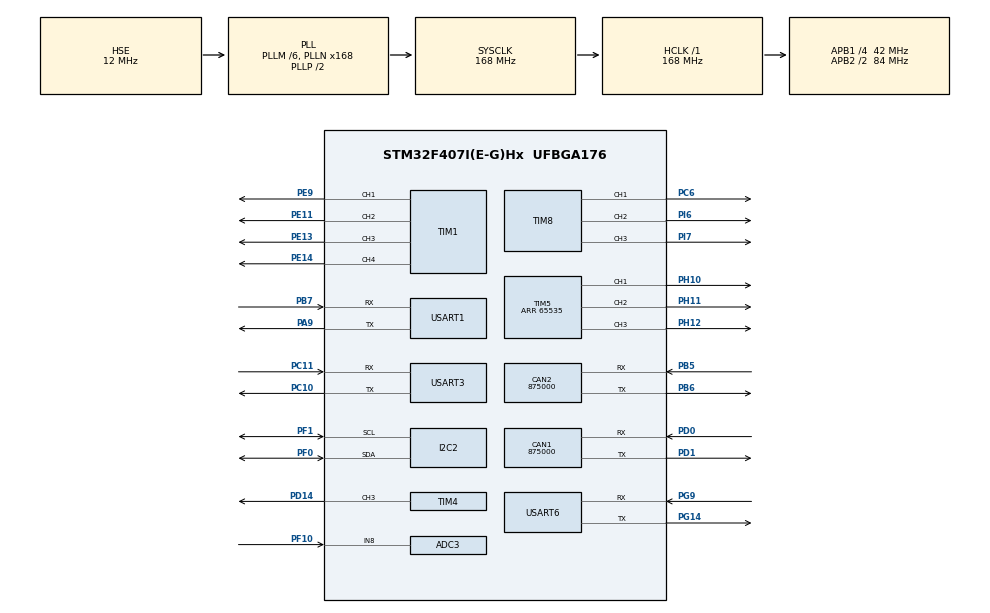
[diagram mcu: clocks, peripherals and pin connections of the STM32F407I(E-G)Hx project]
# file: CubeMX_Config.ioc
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ADC1.Channel-0\#ChannelRegularConversion=ADC_CHANNEL_TEMPSENSOR
ADC1.NbrOfConversionFlag=1
ADC1.Rank-0\#ChannelRegularConversion=1
ADC1.SamplingTime-0\#ChannelRegularConversion=ADC_SAMPLETIME_3CYCLES
ADC1.master=1
ADC3.Channel-1\#ChannelRegularConversion=ADC_CHANNEL_8
ADC3.NbrOfConversionFlag=1
ADC3.Rank-1\#ChannelRegularConversion=1
ADC3.SamplingTime-1\#ChannelRegularConversion=ADC_SAMPLETIME_3CYCLES
CAN1.BS1=CAN_BS1_1TQ
CAN1.BS2=CAN_BS2_1TQ
CAN1.CalculateBaudRate=875000
CAN1.CalculateTimeBit=1142
CAN1.CalculateTimeQuantum=380.95238095238096
CAN2.BS1=CAN_BS1_1TQ
CAN2.BS2=CAN_BS2_1TQ
CAN2.CalculateBaudRate=875000
CAN2.CalculateTimeBit=1142
CAN2.CalculateTimeQuantum=380.95238095238096
Mcu.Family=STM32F4
Mcu.Name=STM32F407I(E-G)Hx
Mcu.Package=UFBGA176
NVIC.PriorityGroup=NVIC_PRIORITYGROUP_4
PA13.Mode=Serial_Wire
PA13.Signal=SYS_JTMS-SWDIO
PA14.Mode=Serial_Wire
PA14.Signal=SYS_JTCK-SWCLK
PA9.GPIO_PuPd=GPIO_PULLUP
PA9.Mode=Asynchronous
PA9.Signal=USART1_TX
PB5.Mode=CAN_Activate
PB5.Signal=CAN2_RX
PB6.Mode=CAN_Activate
PB6.Signal=CAN2_TX
PB7.GPIO_PuPd=GPIO_PULLUP
PB7.Mode=Asynchronous
PB7.Signal=USART1_RX
PC10.Mode=Asynchronous
PC10.Signal=USART3_TX
PC11.Mode=Asynchronous
PC11.Signal=USART3_RX
PC6.Signal=S_TIM8_CH1
PD0.Mode=CAN_Activate
PD0.Signal=CAN1_RX
PD1.Mode=CAN_Activate
PD1.Signal=CAN1_TX
PD14.Signal=S_TIM4_CH3
PE11.Signal=S_TIM1_CH2
PE13.Signal=S_TIM1_CH3
PE14.Signal=S_TIM1_CH4
PE9.Signal=S_TIM1_CH1
PF0.Mode=I2C
PF0.Signal=I2C2_SDA
PF1.Mode=I2C
PF1.Signal=I2C2_SCL
PF10.Mode=IN8
PF10.Signal=ADC3_IN8
PG14.Mode=Asynchronous
PG14.Signal=USART6_TX
PG9.Mode=Asynchronous
PG9.Signal=USART6_RX
PH0-OSC_IN.Mode=HSE-External-Oscillator
PH0-OSC_IN.Signal=RCC_OSC_IN
PH1-OSC_OUT.Mode=HSE-External-Oscillator
PH1-OSC_OUT.Signal=RCC_OSC_OUT
PH10.Signal=S_TIM5_CH1
PH11.Signal=S_TIM5_CH2
PH12.Signal=S_TIM5_CH3
PI6.Signal=S_TIM8_CH2
PI7.Signal=S_TIM8_CH3
ProjectManager.HeapSize=0x200
ProjectManager.StackSize=0x400
ProjectManager.TargetToolchain=MDK-ARM V5
RCC.48MHZClocksFreq_Value=84000000
RCC.AHBFreq_Value=168000000
RCC.APB1CLKDivider=RCC_HCLK_DIV4
RCC.APB1Freq_Value=42000000
RCC.APB1TimFreq_Value=84000000
RCC.APB2CLKDivider=RCC_HCLK_DIV2
RCC.APB2Freq_Value=84000000
RCC.APB2TimFreq_Value=168000000
RCC.CortexFreq_Value=168000000
RCC.HCLKFreq_Value=168000000
RCC.HSE_VALUE=12000000
RCC.HSI_VALUE=16000000
RCC.LSE_VALUE=32768
RCC.PLLM=6
RCC.PLLN=168
RCC.PLLSourceVirtual=RCC_PLLSOURCE_HSE
RCC.SYSCLKFreq_VALUE=168000000
RCC.SYSCLKSource=RCC_SYSCLKSOURCE_PLLCLK
RCC.VCOOutputFreq_Value=336000000
SH.S_TIM1_CH1.0=TIM1_CH1,PWM Generation1 CH1
SH.S_TIM1_CH2.0=TIM1_CH2,PWM Generation2 CH2
SH.S_TIM1_CH3.0=TIM1_CH3,PWM Generation3 CH3
SH.S_TIM1_CH4.0=TIM1_CH4,PWM Generation4 CH4
SH.S_TIM4_CH3.0=TIM4_CH3,PWM Generation3 CH3
SH.S_TIM5_CH1.0=TIM5_CH1,PWM Generation1 CH1
SH.S_TIM5_CH2.0=TIM5_CH2,PWM Generation2 CH2
SH.S_TIM5_CH3.0=TIM5_CH3,PWM Generation3 CH3
SH.S_TIM8_CH1.0=TIM8_CH1,PWM Generation1 CH1
SH.S_TIM8_CH2.0=TIM8_CH2,PWM Generation2 CH2
SH.S_TIM8_CH3.0=TIM8_CH3,PWM Generation3 CH3
TIM1.Channel-PWM\ Generation1\ CH1=TIM_CHANNEL_1
TIM1.Channel-PWM\ Generation2\ CH2=TIM_CHANNEL_2
TIM1.Channel-PWM\ Generation3\ CH3=TIM_CHANNEL_3
TIM1.Channel-PWM\ Generation4\ CH4=TIM_CHANNEL_4
TIM4.Channel-PWM\ Generation3\ CH3=TIM_CHANNEL_3
TIM5.Channel-PWM\ Generation1\ CH1=TIM_CHANNEL_1
TIM5.Channel-PWM\ Generation2\ CH2=TIM_CHANNEL_2
TIM5.Channel-PWM\ Generation3\ CH3=TIM_CHANNEL_3
TIM5.Period=65535
TIM8.Channel-PWM\ Generation1\ CH1=TIM_CHANNEL_1
TIM8.Channel-PWM\ Generation2\ CH2=TIM_CHANNEL_2
TIM8.Channel-PWM\ Generation3\ CH3=TIM_CHANNEL_3
USART1.VirtualMode=VM_ASYNC
USART3.VirtualMode=VM_ASYNC
USART6.VirtualMode=VM_ASYNC
VP_ADC1_TempSens_Input.Mode=IN-TempSens
VP_ADC1_Vref_Input.Mode=IN-Vrefint
VP_TIM1_VS_ClockSourceINT.Mode=Internal
VP_TIM4_VS_ClockSourceINT.Mode=Internal
VP_TIM5_VS_ClockSourceINT.Mode=Internal
VP_TIM8_VS_ClockSourceINT.Mode=Internal
board=custom

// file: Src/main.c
/* USER CODE BEGIN Header */
/**
  ******************************************************************************
  * @file           : main.c
  * @brief          : Main program body
  ******************************************************************************
  * @attention
  *
  * Copyright (c) 2023 STMicroelectronics.
  * All rights reserved.
  *
  * This software is licensed under terms that can be found in the LICENSE file
  * in the root directory of this software component.
  * If no LICENSE file comes with this software, it is provided AS-IS.
  *
  ******************************************************************************
  */
/* USER CODE END Header */
#include "main.h"

/* USER CODE BEGIN Includes */
#include <rtthread.h>
#include <board.h>
#ifdef BSP_USING_EASYFLASH
#include <easyflash.h>
#endif
/* USER CODE END Includes */

ADC_HandleTypeDef hadc1;
ADC_HandleTypeDef hadc3;

CAN_HandleTypeDef hcan1;
CAN_HandleTypeDef hcan2;

I2C_HandleTypeDef hi2c2;

TIM_HandleTypeDef htim1;
TIM_HandleTypeDef htim4;
TIM_HandleTypeDef htim5;
TIM_HandleTypeDef htim8;

UART_HandleTypeDef huart1;
UART_HandleTypeDef huart3;
UART_HandleTypeDef huart6;

void SystemClock_Config(void);
static void MX_GPIO_Init(void);
static void MX_USART1_UART_Init(void);
static void MX_ADC3_Init(void);
static void MX_CAN1_Init(void);
static void MX_CAN2_Init(void);
static void MX_TIM1_Init(void);
static void MX_TIM4_Init(void);
static void MX_TIM8_Init(void);
static void MX_USART3_UART_Init(void);
static void MX_USART6_UART_Init(void);
static void MX_ADC1_Init(void);
static void MX_I2C2_Init(void);
static void MX_TIM5_Init(void);

int main(void)
{

    /* MCU Configuration--------------------------------------------------------*/

    /* Reset of all peripherals, Initializes the Flash interface and the Systick. */
    HAL_Init();

    /* Configure the system clock */
    SystemClock_Config();

    /* Initialize all configured peripherals */
    MX_GPIO_Init();
    MX_USART1_UART_Init();
    MX_ADC3_Init();
    MX_CAN1_Init();
    MX_CAN2_Init();
    MX_TIM1_Init();
    MX_TIM4_Init();
    MX_TIM8_Init();
    MX_USART3_UART_Init();
    MX_USART6_UART_Init();
    MX_ADC1_Init();
    MX_I2C2_Init();
    MX_TIM5_Init();
    /* USER CODE BEGIN 2 */
#ifdef BSP_USING_EASYFLASH
    easyflash_init();
#endif
    /* USER CODE END 2 */

    /* Infinite loop */
    while (1)
    {

        /* USER CODE BEGIN 3 */
        rt_thread_mdelay(500);
    }
    /* USER CODE END 3 */
}

void SystemClock_Config(void)
{
    RCC_OscInitTypeDef RCC_OscInitStruct = {0};
    RCC_ClkInitTypeDef RCC_ClkInitStruct = {0};

    /** Configure the main internal regulator output voltage
    */
    __HAL_RCC_PWR_CLK_ENABLE();
    __HAL_PWR_VOLTAGESCALING_CONFIG(PWR_REGULATOR_VOLTAGE_SCALE1);

    /** Initializes the RCC Oscillators according to the specified parameters
    * in the RCC_OscInitTypeDef structure.
    */
    RCC_OscInitStruct.OscillatorType = RCC_OSCILLATORTYPE_HSE;
    RCC_OscInitStruct.HSEState = RCC_HSE_ON;
    RCC_OscInitStruct.PLL.PLLState = RCC_PLL_ON;
    RCC_OscInitStruct.PLL.PLLSource = RCC_PLLSOURCE_HSE;
    RCC_OscInitStruct.PLL.PLLM = 6;
    RCC_OscInitStruct.PLL.PLLN = 168;
    RCC_OscInitStruct.PLL.PLLP = RCC_PLLP_DIV2;
    RCC_OscInitStruct.PLL.PLLQ = 4;
    if (HAL_RCC_OscConfig(&RCC_OscInitStruct) != HAL_OK)
    {
        Error_Handler();
    }

    /** Initializes the CPU, AHB and APB buses clocks
    */
    RCC_ClkInitStruct.ClockType = RCC_CLOCKTYPE_HCLK|RCC_CLOCKTYPE_SYSCLK
                                  |RCC_CLOCKTYPE_PCLK1|RCC_CLOCKTYPE_PCLK2;
    RCC_ClkInitStruct.SYSCLKSource = RCC_SYSCLKSOURCE_PLLCLK;
    RCC_ClkInitStruct.AHBCLKDivider = RCC_SYSCLK_DIV1;
    RCC_ClkInitStruct.APB1CLKDivider = RCC_HCLK_DIV4;
    RCC_ClkInitStruct.APB2CLKDivider = RCC_HCLK_DIV2;

    if (HAL_RCC_ClockConfig(&RCC_ClkInitStruct, FLASH_LATENCY_5) != HAL_OK)
    {
        Error_Handler();
    }
}

static void MX_ADC1_Init(void)
{

    ADC_ChannelConfTypeDef sConfig = {0};

    /** Configure the global features of the ADC (Clock, Resolution, Data Alignment and number of conversion)
    */
    hadc1.Instance = ADC1;
    hadc1.Init.ClockPrescaler = ADC_CLOCK_SYNC_PCLK_DIV4;
    hadc1.Init.Resolution = ADC_RESOLUTION_12B;
    hadc1.Init.ScanConvMode = DISABLE;
    hadc1.Init.ContinuousConvMode = DISABLE;
    hadc1.Init.DiscontinuousConvMode = DISABLE;
    hadc1.Init.ExternalTrigConvEdge = ADC_EXTERNALTRIGCONVEDGE_NONE;
    hadc1.Init.ExternalTrigConv = ADC_SOFTWARE_START;
    hadc1.Init.DataAlign = ADC_DATAALIGN_RIGHT;
    hadc1.Init.NbrOfConversion = 1;
    hadc1.Init.DMAContinuousRequests = DISABLE;
    hadc1.Init.EOCSelection = ADC_EOC_SINGLE_CONV;
    if (HAL_ADC_Init(&hadc1) != HAL_OK)
    {
        Error_Handler();
    }

    /** Configure for the selected ADC regular channel its corresponding rank in the sequencer and its sample time.
    */
    sConfig.Channel = ADC_CHANNEL_TEMPSENSOR;
    sConfig.Rank = 1;
    sConfig.SamplingTime = ADC_SAMPLETIME_3CYCLES;
    if (HAL_ADC_ConfigChannel(&hadc1, &sConfig) != HAL_OK)
    {
        Error_Handler();
    }

}

static void MX_ADC3_Init(void)
{

    ADC_ChannelConfTypeDef sConfig = {0};

    /** Configure the global features of the ADC (Clock, Resolution, Data Alignment and number of conversion)
    */
    hadc3.Instance = ADC3;
    hadc3.Init.ClockPrescaler = ADC_CLOCK_SYNC_PCLK_DIV4;
    hadc3.Init.Resolution = ADC_RESOLUTION_12B;
    hadc3.Init.ScanConvMode = DISABLE;
    hadc3.Init.ContinuousConvMode = DISABLE;
    hadc3.Init.DiscontinuousConvMode = DISABLE;
    hadc3.Init.ExternalTrigConvEdge = ADC_EXTERNALTRIGCONVEDGE_NONE;
    hadc3.Init.ExternalTrigConv = ADC_SOFTWARE_START;
    hadc3.Init.DataAlign = ADC_DATAALIGN_RIGHT;
    hadc3.Init.NbrOfConversion = 1;
    hadc3.Init.DMAContinuousRequests = DISABLE;
    hadc3.Init.EOCSelection = ADC_EOC_SINGLE_CONV;
    if (HAL_ADC_Init(&hadc3) != HAL_OK)
    {
        Error_Handler();
    }

    /** Configure for the selected ADC regular channel its corresponding rank in the sequencer and its sample time.
    */
    sConfig.Channel = ADC_CHANNEL_8;
    sConfig.Rank = 1;
    sConfig.SamplingTime = ADC_SAMPLETIME_3CYCLES;
    if (HAL_ADC_ConfigChannel(&hadc3, &sConfig) != HAL_OK)
    {
        Error_Handler();
    }

}

static void MX_CAN1_Init(void)
{

    hcan1.Instance = CAN1;
    hcan1.Init.Prescaler = 16;
    hcan1.Init.Mode = CAN_MODE_NORMAL;
    hcan1.Init.SyncJumpWidth = CAN_SJW_1TQ;
    hcan1.Init.TimeSeg1 = CAN_BS1_1TQ;
    hcan1.Init.TimeSeg2 = CAN_BS2_1TQ;
    hcan1.Init.TimeTriggeredMode = DISABLE;
    hcan1.Init.AutoBusOff = DISABLE;
    hcan1.Init.AutoWakeUp = DISABLE;
    hcan1.Init.AutoRetransmission = DISABLE;
    hcan1.Init.ReceiveFifoLocked = DISABLE;
    hcan1.Init.TransmitFifoPriority = DISABLE;
    if (HAL_CAN_Init(&hcan1) != HAL_OK)
    {
        Error_Handler();
    }

}

static void MX_CAN2_Init(void)
{

    hcan2.Instance = CAN2;
    hcan2.Init.Prescaler = 16;
    hcan2.Init.Mode = CAN_MODE_NORMAL;
    hcan2.Init.SyncJumpWidth = CAN_SJW_1TQ;
    hcan2.Init.TimeSeg1 = CAN_BS1_1TQ;
    hcan2.Init.TimeSeg2 = CAN_BS2_1TQ;
    hcan2.Init.TimeTriggeredMode = DISABLE;
    hcan2.Init.AutoBusOff = DISABLE;
    hcan2.Init.AutoWakeUp = DISABLE;
    hcan2.Init.AutoRetransmission = DISABLE;
    hcan2.Init.ReceiveFifoLocked = DISABLE;
    hcan2.Init.TransmitFifoPriority = DISABLE;
    if (HAL_CAN_Init(&hcan2) != HAL_OK)
    {
        Error_Handler();
    }

}

static void MX_I2C2_Init(void)
{

    hi2c2.Instance = I2C2;
    hi2c2.Init.ClockSpeed = 100000;
    hi2c2.Init.DutyCycle = I2C_DUTYCYCLE_2;
    hi2c2.Init.OwnAddress1 = 0;
    hi2c2.Init.AddressingMode = I2C_ADDRESSINGMODE_7BIT;
    hi2c2.Init.DualAddressMode = I2C_DUALADDRESS_DISABLE;
    hi2c2.Init.OwnAddress2 = 0;
    hi2c2.Init.GeneralCallMode = I2C_GENERALCALL_DISABLE;
    hi2c2.Init.NoStretchMode = I2C_NOSTRETCH_DISABLE;
    if (HAL_I2C_Init(&hi2c2) != HAL_OK)
    {
        Error_Handler();
    }

}

static void MX_TIM1_Init(void)
{

    TIM_ClockConfigTypeDef sClockSourceConfig = {0};
    TIM_MasterConfigTypeDef sMasterConfig = {0};
    TIM_OC_InitTypeDef sConfigOC = {0};
    TIM_BreakDeadTimeConfigTypeDef sBreakDeadTimeConfig = {0};

    htim1.Instance = TIM1;
    htim1.Init.Prescaler = 0;
    htim1.Init.CounterMode = TIM_COUNTERMODE_UP;
    htim1.Init.Period = 65535;
    htim1.Init.ClockDivision = TIM_CLOCKDIVISION_DIV1;
    htim1.Init.RepetitionCounter = 0;
    htim1.Init.AutoReloadPreload = TIM_AUTORELOAD_PRELOAD_DISABLE;
    if (HAL_TIM_Base_Init(&htim1) != HAL_OK)
    {
        Error_Handler();
    }
    sClockSourceConfig.ClockSource = TIM_CLOCKSOURCE_INTERNAL;
    if (HAL_TIM_ConfigClockSource(&htim1, &sClockSourceConfig) != HAL_OK)
    {
        Error_Handler();
    }
    if (HAL_TIM_PWM_Init(&htim1) != HAL_OK)
    {
        Error_Handler();
    }
    sMasterConfig.MasterOutputTrigger = TIM_TRGO_RESET;
    sMasterConfig.MasterSlaveMode = TIM_MASTERSLAVEMODE_DISABLE;
    if (HAL_TIMEx_MasterConfigSynchronization(&htim1, &sMasterConfig) != HAL_OK)
    {
        Error_Handler();
    }
    sConfigOC.OCMode = TIM_OCMODE_PWM1;
    sConfigOC.Pulse = 0;
    sConfigOC.OCPolarity = TIM_OCPOLARITY_HIGH;
    sConfigOC.OCNPolarity = TIM_OCNPOLARITY_HIGH;
    sConfigOC.OCFastMode = TIM_OCFAST_DISABLE;
    sConfigOC.OCIdleState = TIM_OCIDLESTATE_RESET;
    sConfigOC.OCNIdleState = TIM_OCNIDLESTATE_RESET;
    if (HAL_TIM_PWM_ConfigChannel(&htim1, &sConfigOC, TIM_CHANNEL_1) != HAL_OK)
    {
        Error_Handler();
    }
    if (HAL_TIM_PWM_ConfigChannel(&htim1, &sConfigOC, TIM_CHANNEL_2) != HAL_OK)
    {
        Error_Handler();
    }
    if (HAL_TIM_PWM_ConfigChannel(&htim1, &sConfigOC, TIM_CHANNEL_3) != HAL_OK)
    {
        Error_Handler();
    }
    if (HAL_TIM_PWM_ConfigChannel(&htim1, &sConfigOC, TIM_CHANNEL_4) != HAL_OK)
    {
        Error_Handler();
    }
    sBreakDeadTimeConfig.OffStateRunMode = TIM_OSSR_DISABLE;
    sBreakDeadTimeConfig.OffStateIDLEMode = TIM_OSSI_DISABLE;
    sBreakDeadTimeConfig.LockLevel = TIM_LOCKLEVEL_OFF;
    sBreakDeadTimeConfig.DeadTime = 0;
    sBreakDeadTimeConfig.BreakState = TIM_BREAK_DISABLE;
    sBreakDeadTimeConfig.BreakPolarity = TIM_BREAKPOLARITY_HIGH;
    sBreakDeadTimeConfig.AutomaticOutput = TIM_AUTOMATICOUTPUT_DISABLE;
    if (HAL_TIMEx_ConfigBreakDeadTime(&htim1, &sBreakDeadTimeConfig) != HAL_OK)
    {
        Error_Handler();
    }
    HAL_TIM_MspPostInit(&htim1);

}

static void MX_TIM4_Init(void)
{

    TIM_ClockConfigTypeDef sClockSourceConfig = {0};
    TIM_MasterConfigTypeDef sMasterConfig = {0};
    TIM_OC_InitTypeDef sConfigOC = {0};

    htim4.Instance = TIM4;
    htim4.Init.Prescaler = 0;
    htim4.Init.CounterMode = TIM_COUNTERMODE_UP;
    htim4.Init.Period = 65535;
    htim4.Init.ClockDivision = TIM_CLOCKDIVISION_DIV1;
    htim4.Init.AutoReloadPreload = TIM_AUTORELOAD_PRELOAD_DISABLE;
    if (HAL_TIM_Base_Init(&htim4) != HAL_OK)
    {
        Error_Handler();
    }
    sClockSourceConfig.ClockSource = TIM_CLOCKSOURCE_INTERNAL;
    if (HAL_TIM_ConfigClockSource(&htim4, &sClockSourceConfig) != HAL_OK)
    {
        Error_Handler();
    }
    if (HAL_TIM_PWM_Init(&htim4) != HAL_OK)
    {
        Error_Handler();
    }
    sMasterConfig.MasterOutputTrigger = TIM_TRGO_RESET;
    sMasterConfig.MasterSlaveMode = TIM_MASTERSLAVEMODE_DISABLE;
    if (HAL_TIMEx_MasterConfigSynchronization(&htim4, &sMasterConfig) != HAL_OK)
    {
        Error_Handler();
    }
    sConfigOC.OCMode = TIM_OCMODE_PWM1;
    sConfigOC.Pulse = 0;
    sConfigOC.OCPolarity = TIM_OCPOLARITY_HIGH;
    sConfigOC.OCFastMode = TIM_OCFAST_DISABLE;
    if (HAL_TIM_PWM_ConfigChannel(&htim4, &sConfigOC, TIM_CHANNEL_3) != HAL_OK)
    {
        Error_Handler();
    }
    HAL_TIM_MspPostInit(&htim4);

}

static void MX_TIM5_Init(void)
{

    TIM_ClockConfigTypeDef sClockSourceConfig = {0};
    TIM_MasterConfigTypeDef sMasterConfig = {0};
    TIM_OC_InitTypeDef sConfigOC = {0};

    htim5.Instance = TIM5;
    htim5.Init.Prescaler = 0;
    htim5.Init.CounterMode = TIM_COUNTERMODE_UP;
    htim5.Init.Period = 65535;
    htim5.Init.ClockDivision = TIM_CLOCKDIVISION_DIV1;
    htim5.Init.AutoReloadPreload = TIM_AUTORELOAD_PRELOAD_DISABLE;
    if (HAL_TIM_Base_Init(&htim5) != HAL_OK)
    {
        Error_Handler();
    }
    sClockSourceConfig.ClockSource = TIM_CLOCKSOURCE_INTERNAL;
    if (HAL_TIM_ConfigClockSource(&htim5, &sClockSourceConfig) != HAL_OK)
    {
        Error_Handler();
    }
    if (HAL_TIM_PWM_Init(&htim5) != HAL_OK)
    {
        Error_Handler();
    }
    sMasterConfig.MasterOutputTrigger = TIM_TRGO_RESET;
    sMasterConfig.MasterSlaveMode = TIM_MASTERSLAVEMODE_DISABLE;
    if (HAL_TIMEx_MasterConfigSynchronization(&htim5, &sMasterConfig) != HAL_OK)
    {
        Error_Handler();
    }
    sConfigOC.OCMode = TIM_OCMODE_PWM1;
    sConfigOC.Pulse = 0;
    sConfigOC.OCPolarity = TIM_OCPOLARITY_HIGH;
    sConfigOC.OCFastMode = TIM_OCFAST_DISABLE;
    if (HAL_TIM_PWM_ConfigChannel(&htim5, &sConfigOC, TIM_CHANNEL_1) != HAL_OK)
    {
        Error_Handler();
    }
    if (HAL_TIM_PWM_ConfigChannel(&htim5, &sConfigOC, TIM_CHANNEL_2) != HAL_OK)
    {
        Error_Handler();
    }
    if (HAL_TIM_PWM_ConfigChannel(&htim5, &sConfigOC, TIM_CHANNEL_3) != HAL_OK)
    {
        Error_Handler();
    }
    HAL_TIM_MspPostInit(&htim5);

}

static void MX_TIM8_Init(void)
{

    TIM_ClockConfigTypeDef sClockSourceConfig = {0};
    TIM_MasterConfigTypeDef sMasterConfig = {0};
    TIM_OC_InitTypeDef sConfigOC = {0};
    TIM_BreakDeadTimeConfigTypeDef sBreakDeadTimeConfig = {0};

    htim8.Instance = TIM8;
    htim8.Init.Prescaler = 0;
    htim8.Init.CounterMode = TIM_COUNTERMODE_UP;
    htim8.Init.Period = 65535;
    htim8.Init.ClockDivision = TIM_CLOCKDIVISION_DIV1;
    htim8.Init.RepetitionCounter = 0;
    htim8.Init.AutoReloadPreload = TIM_AUTORELOAD_PRELOAD_DISABLE;
    if (HAL_TIM_Base_Init(&htim8) != HAL_OK)
    {
        Error_Handler();
    }
    sClockSourceConfig.ClockSource = TIM_CLOCKSOURCE_INTERNAL;
    if (HAL_TIM_ConfigClockSource(&htim8, &sClockSourceConfig) != HAL_OK)
    {
        Error_Handler();
    }
    if (HAL_TIM_PWM_Init(&htim8) != HAL_OK)
    {
        Error_Handler();
    }
    sMasterConfig.MasterOutputTrigger = TIM_TRGO_RESET;
    sMasterConfig.MasterSlaveMode = TIM_MASTERSLAVEMODE_DISABLE;
    if (HAL_TIMEx_MasterConfigSynchronization(&htim8, &sMasterConfig) != HAL_OK)
    {
        Error_Handler();
    }
    sConfigOC.OCMode = TIM_OCMODE_PWM1;
    sConfigOC.Pulse = 0;
    sConfigOC.OCPolarity = TIM_OCPOLARITY_HIGH;
    sConfigOC.OCNPolarity = TIM_OCNPOLARITY_HIGH;
    sConfigOC.OCFastMode = TIM_OCFAST_DISABLE;
    sConfigOC.OCIdleState = TIM_OCIDLESTATE_RESET;
    sConfigOC.OCNIdleState = TIM_OCNIDLESTATE_RESET;
    if (HAL_TIM_PWM_ConfigChannel(&htim8, &sConfigOC, TIM_CHANNEL_1) != HAL_OK)
    {
        Error_Handler();
    }
    if (HAL_TIM_PWM_ConfigChannel(&htim8, &sConfigOC, TIM_CHANNEL_2) != HAL_OK)
    {
        Error_Handler();
    }
    if (HAL_TIM_PWM_ConfigChannel(&htim8, &sConfigOC, TIM_CHANNEL_3) != HAL_OK)
    {
        Error_Handler();
    }
    sBreakDeadTimeConfig.OffStateRunMode = TIM_OSSR_DISABLE;
    sBreakDeadTimeConfig.OffStateIDLEMode = TIM_OSSI_DISABLE;
    sBreakDeadTimeConfig.LockLevel = TIM_LOCKLEVEL_OFF;
    sBreakDeadTimeConfig.DeadTime = 0;
    sBreakDeadTimeConfig.BreakState = TIM_BREAK_DISABLE;
    sBreakDeadTimeConfig.BreakPolarity = TIM_BREAKPOLARITY_HIGH;
    sBreakDeadTimeConfig.AutomaticOutput = TIM_AUTOMATICOUTPUT_DISABLE;
    if (HAL_TIMEx_ConfigBreakDeadTime(&htim8, &sBreakDeadTimeConfig) != HAL_OK)
    {
        Error_Handler();
    }
    HAL_TIM_MspPostInit(&htim8);

}

static void MX_USART1_UART_Init(void)
{

    huart1.Instance = USART1;
    huart1.Init.BaudRate = 115200;
    huart1.Init.WordLength = UART_WORDLENGTH_8B;
    huart1.Init.StopBits = UART_STOPBITS_1;
    huart1.Init.Parity = UART_PARITY_NONE;
    huart1.Init.Mode = UART_MODE_TX_RX;
    huart1.Init.HwFlowCtl = UART_HWCONTROL_NONE;
    huart1.Init.OverSampling = UART_OVERSAMPLING_16;
    if (HAL_UART_Init(&huart1) != HAL_OK)
    {
        Error_Handler();
    }

}

static void MX_USART3_UART_Init(void)
{

    huart3.Instance = USART3;
    huart3.Init.BaudRate = 115200;
    huart3.Init.WordLength = UART_WORDLENGTH_8B;
    huart3.Init.StopBits = UART_STOPBITS_1;
    huart3.Init.Parity = UART_PARITY_NONE;
    huart3.Init.Mode = UART_MODE_TX_RX;
    huart3.Init.HwFlowCtl = UART_HWCONTROL_NONE;
    huart3.Init.OverSampling = UART_OVERSAMPLING_16;
    if (HAL_UART_Init(&huart3) != HAL_OK)
    {
        Error_Handler();
    }

}

static void MX_USART6_UART_Init(void)
{

    huart6.Instance = USART6;
    huart6.Init.BaudRate = 115200;
    huart6.Init.WordLength = UART_WORDLENGTH_8B;
    huart6.Init.StopBits = UART_STOPBITS_1;
    huart6.Init.Parity = UART_PARITY_NONE;
    huart6.Init.Mode = UART_MODE_TX_RX;
    huart6.Init.HwFlowCtl = UART_HWCONTROL_NONE;
    huart6.Init.OverSampling = UART_OVERSAMPLING_16;
    if (HAL_UART_Init(&huart6) != HAL_OK)
    {
        Error_Handler();
    }

}

static void MX_GPIO_Init(void)
{

    /* GPIO Ports Clock Enable */
    __HAL_RCC_GPIOB_CLK_ENABLE();
    __HAL_RCC_GPIOG_CLK_ENABLE();
    __HAL_RCC_GPIOA_CLK_ENABLE();
    __HAL_RCC_GPIOD_CLK_ENABLE();
    __HAL_RCC_GPIOC_CLK_ENABLE();
    __HAL_RCC_GPIOI_CLK_ENABLE();
    __HAL_RCC_GPIOF_CLK_ENABLE();
    __HAL_RCC_GPIOH_CLK_ENABLE();
    __HAL_RCC_GPIOE_CLK_ENABLE();

}

/* USER CODE BEGIN 4 */
#ifdef RT_USING_FINSH
INIT_BOARD_EXPORT(MX_USART1_UART_Init);

#define DEBUG_USART huart1
void rt_hw_console_output(const char *str)
{
    while (*str!='\0')
    {
        if (*str=='\n')
        {
            DEBUG_USART.Instance->DR = '\r';
            while (__HAL_UART_GET_FLAG(&(DEBUG_USART), UART_FLAG_TXE) == RESET);
        }
        DEBUG_USART.Instance->DR = *(str++);
        while (__HAL_UART_GET_FLAG(&(DEBUG_USART), UART_FLAG_TXE) == RESET);
    }
}

char rt_hw_console_getchar(void)
{
    int8_t ch = -1;

    if (__HAL_UART_GET_FLAG(&(DEBUG_USART),UART_FLAG_RXNE)!=RESET)
    {
        HAL_UART_Receive(&(DEBUG_USART), &ch, 1, 1);
        __HAL_UART_CLEAR_FLAG(&(DEBUG_USART), UART_FLAG_RXNE);
    }
    else
    {
        if(__HAL_UART_GET_FLAG(&(DEBUG_USART),UART_FLAG_ORE)!=RESET)
        {
            __HAL_UART_CLEAR_FLAG(&(DEBUG_USART), UART_FLAG_ORE);
        }
    }
    return ch;
}
#endif /* RT_USING_FINSH */
/* USER CODE END 4 */
